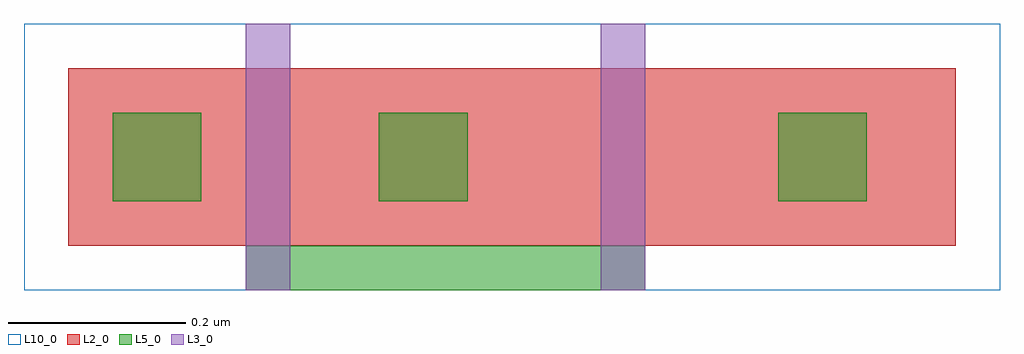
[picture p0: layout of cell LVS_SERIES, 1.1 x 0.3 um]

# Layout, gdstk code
import gdstk
lib = gdstk.Library(unit=1e-6, precision=1e-09)
def R(c, l, rs):  # rectangles x0, y0, x1, y1
    for r in rs: c.add(gdstk.rectangle(r[:2], r[2:], *l))
L2_0 = (2, 0)
L3_0 = (3, 0)
L5_0 = (5, 0)
L10_0 = (10, 0)

lvs_series = lib.new_cell('LVS_SERIES')
R(lvs_series, L2_0, [(0,0,1,0.2)])
R(lvs_series, L3_0, [(0.2,-0.05,0.25,0.25), (0.6,-0.05,0.65,0.25)])
R(lvs_series, L5_0, [(0.2,-0.05,0.65,0), (0.05,0.05,0.15,0.15), (0.35,0.05,0.45,0.15), (0.8,0.05,0.9,0.15)])
R(lvs_series, L10_0, [(-0.05,-0.05,1.05,0.25)])

lib.write_gds('LVS_SERIES.gds')
